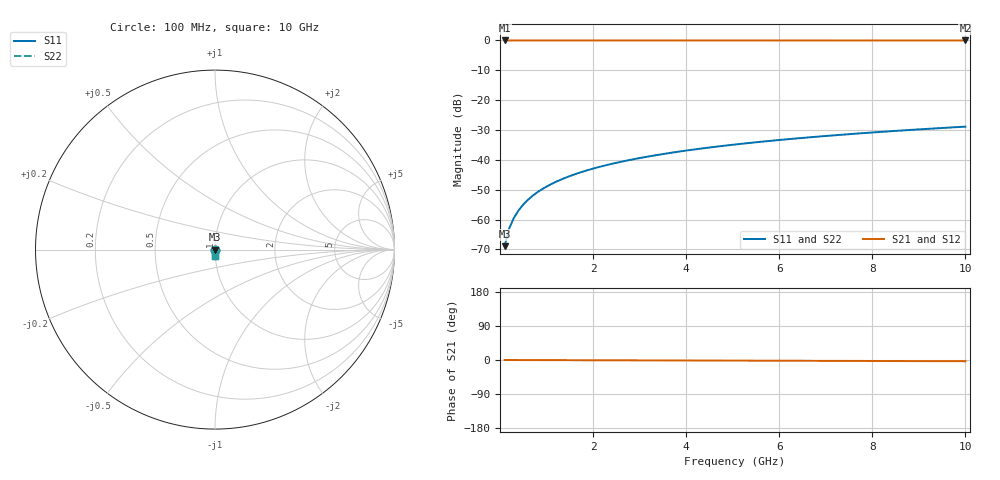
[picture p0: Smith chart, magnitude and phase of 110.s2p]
# Hz S RI R 50.00
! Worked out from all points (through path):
!   100 points, 100 MHz to 10 GHz, reference 50 ohm
!   highest |S21| = 0.00 dB at 100 MHz (marker M1); lowest = 0.0 dB at 10 GHz (marker M2)
!   lowest |S11| = -68.9 dB at 100 MHz (marker M3), VSWR 1.00, Z = 50 - j0.0356 ohm
!   |S11| at or under -10 dB: start of sweep to end of sweep
!   |S22| runs from -68.9 to -28.9 dB; largest |S21 - S12| = 0
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1e8  3.64e-05 -0.000356  1 -0.000556  1 -0.000556  3.64e-05 -0.000356
2e8  3.56e-05 -0.000712  1 -0.00111  1 -0.00111  3.56e-05 -0.000712
3e8  3.44e-05 -0.00107  1 -0.00167  1 -0.00167  3.44e-05 -0.00107
4e8  3.27e-05 -0.00142  1 -0.00223  1 -0.00223  3.27e-05 -0.00142
5e8  3.06e-05 -0.00178  1 -0.00278  1 -0.00278  3.06e-05 -0.00178
6e8  2.81e-05 -0.00214  1 -0.00334  1 -0.00334  2.81e-05 -0.00214
7e8  2.52e-05 -0.00249  0.9999 -0.00389  0.9999 -0.00389  2.52e-05 -0.00249
8e8  2.19e-05 -0.00285  0.9999 -0.00445  0.9999 -0.00445  2.19e-05 -0.00285
9e8  1.82e-05 -0.0032  0.9999 -0.00501  0.9999 -0.00501  1.82e-05 -0.0032
1.1e9  9.54e-06 -0.00392  0.9999 -0.00612  0.9999 -0.00612  9.54e-06 -0.00392
1.4e9  -6.43e-06 -0.00498  0.9999 -0.00779  0.9999 -0.00779  -6.43e-06 -0.00498
1.8e9  -3.33e-05 -0.00641  0.9999 -0.01  0.9999 -0.01  -3.33e-05 -0.00641
2.1e9  -5.77e-05 -0.00748  0.9999 -0.0117  0.9999 -0.0117  -5.77e-05 -0.00748
2.5e9  -9.59e-05 -0.00891  0.9998 -0.0139  0.9998 -0.0139  -9.59e-05 -0.00891
2.9e9  -0.00014 -0.0103  0.9998 -0.0162  0.9998 -0.0162  -0.00014 -0.0103
3.4e9  -0.000205 -0.0121  0.9997 -0.019  0.9997 -0.019  -0.000205 -0.0121
4.2e9  -0.00033 -0.015  0.9996 -0.0234  0.9996 -0.0234  -0.00033 -0.015
5.1e9  -0.000502 -0.0182  0.9994 -0.0285  0.9994 -0.0285  -0.000502 -0.0182
5.9e9  -0.000682 -0.0211  0.9992 -0.033  0.9992 -0.033  -0.000682 -0.0211
6.7e9  -0.000889 -0.024  0.9989 -0.0375  0.9989 -0.0375  -0.000889 -0.024
8.4e9  -0.00142 -0.0301  0.9984 -0.0471  0.9984 -0.0471  -0.00142 -0.0301
1e10  -0.00202 -0.0359  0.9977 -0.0562  0.9977 -0.0562  -0.00202 -0.0359
